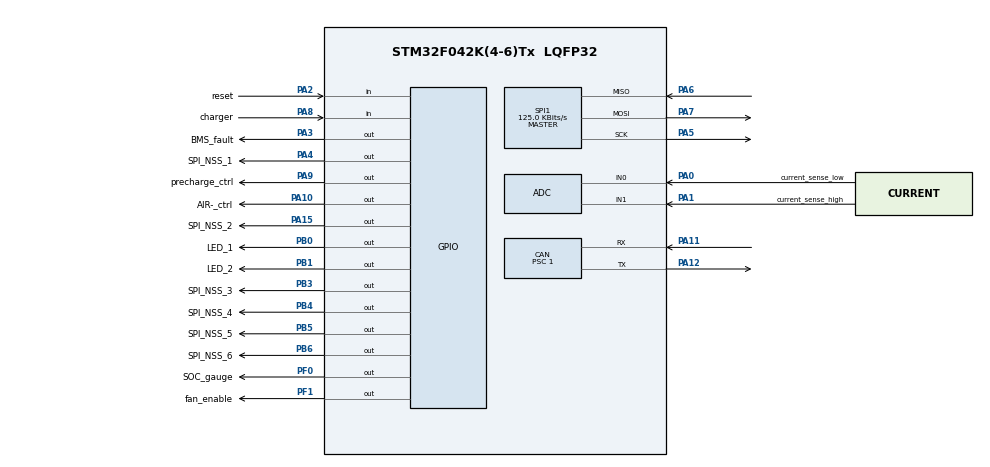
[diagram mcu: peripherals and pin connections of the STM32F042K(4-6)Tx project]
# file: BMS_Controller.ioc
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CAN.AWUM=ENABLE
CAN.BS1=CAN_BS1_14TQ
CAN.CalculateBaudRate=500000
CAN.CalculateTimeBit=2000
CAN.CalculateTimeQuantum=125.0
CAN.NART=DISABLE
CAN.Prescaler=1
CAN.TXFP=ENABLE
Mcu.Family=STM32F0
Mcu.Name=STM32F042K(4-6)Tx
Mcu.Package=LQFP32
NVIC.CEC_CAN_IRQn=true\:0\:0\:false\:false\:true\:true\:true\:true
PA0.GPIO_Label=current_sense_low
PA0.Mode=IN0
PA0.Signal=ADC_IN0
PA1.GPIO_Label=current_sense_high
PA1.Mode=IN1
PA1.Signal=ADC_IN1
PA10.GPIO_Label=AIR-_ctrl
PA10.GPIO_PuPd=GPIO_NOPULL
PA10.PinState=GPIO_PIN_RESET
PA10.Signal=GPIO_Output
PA11.Mode=CAN_Activate
PA11.Signal=CAN_RX
PA12.Mode=CAN_Activate
PA12.Signal=CAN_TX
PA13.Mode=Serial_Wire
PA13.Signal=SYS_SWDIO
PA14.Mode=Serial_Wire
PA14.Signal=SYS_SWCLK
PA15.GPIO_Label=SPI_NSS_2
PA15.PinState=GPIO_PIN_SET
PA15.Signal=GPIO_Output
PA2.GPIO_Label=reset
PA2.Signal=GPIO_Input
PA3.GPIO_Label=BMS_fault
PA3.Signal=GPIO_Output
PA4.GPIO_Label=SPI_NSS_1
PA4.PinState=GPIO_PIN_SET
PA4.Signal=GPIO_Output
PA5.Mode=Full_Duplex_Master
PA5.Signal=SPI1_SCK
PA6.Mode=Full_Duplex_Master
PA6.Signal=SPI1_MISO
PA7.Mode=Full_Duplex_Master
PA7.Signal=SPI1_MOSI
PA8.GPIO_Label=charger
PA8.Signal=GPIO_Input
PA9.GPIO_Label=precharge_ctrl
PA9.Signal=GPIO_Output
PB0.GPIO_Label=LED_1
PB0.PinState=GPIO_PIN_RESET
PB0.Signal=GPIO_Output
PB1.GPIO_Label=LED_2
PB1.Signal=GPIO_Output
PB3.GPIO_Label=SPI_NSS_3
PB3.PinState=GPIO_PIN_SET
PB3.Signal=GPIO_Output
PB4.GPIO_Label=SPI_NSS_4
PB4.PinState=GPIO_PIN_SET
PB4.Signal=GPIO_Output
PB5.GPIO_Label=SPI_NSS_5
PB5.PinState=GPIO_PIN_SET
PB5.Signal=GPIO_Output
PB6.GPIO_Label=SPI_NSS_6
PB6.PinState=GPIO_PIN_SET
PB6.Signal=GPIO_Output
PF0-OSC_IN.GPIO_Label=SOC_gauge
PF0-OSC_IN.Signal=GPIO_Output
PF1-OSC_OUT.GPIO_Label=fan_enable
PF1-OSC_OUT.Signal=GPIO_Output
ProjectManager.HeapSize=0x200
ProjectManager.StackSize=0x400
ProjectManager.TargetToolchain=STM32CubeIDE
SPI1.BaudRatePrescaler=SPI_BAUDRATEPRESCALER_64
SPI1.CalculateBaudRate=125.0 KBits/s
SPI1.DataSize=SPI_DATASIZE_8BIT
SPI1.Direction=SPI_DIRECTION_2LINES
SPI1.Mode=SPI_MODE_MASTER
SPI1.NSSPMode=SPI_NSS_PULSE_DISABLE
SPI1.VirtualType=VM_MASTER
board=custom

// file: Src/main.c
/* USER CODE BEGIN Header */
/**
 ******************************************************************************
 * @file           : main.c
 * @brief          : Main program body
 ******************************************************************************
 * @attention
 *
 * <h2><center>&copy; Copyright (c) 2022 STMicroelectronics.
 * All rights reserved.</center></h2>
 *
 * This software component is licensed by ST under BSD 3-Clause license,
 * the "License"; You may not use this file except in compliance with the
 * License. You may obtain a copy of the License at:
 *                        opensource.org/licenses/BSD-3-Clause
 *
 ******************************************************************************
 */
/* USER CODE END Header */
#include "main.h"

/* USER CODE BEGIN Includes */
#include <stdio.h>
#include <stdlib.h>
#include <math.h>
/* USER CODE END Includes */

/* USER CODE BEGIN PD */
#define SPI_TIMEOUT 200

#define CELLS_PER_SEGMENT 16
#define NUM_OF_SEGMENTS 6
#define NUM_OF_CELLS (CELLS_PER_SEGMENT * NUM_OF_SEGMENTS)
#define MIN_CELL_VOLTAGE 2.5
#define MAX_CELL_VOLTAGE 4.2
#define MIN_SEGMENT_VOLTAGE (MIN_CELL_VOLTAGE * CELLS_PER_SEGMENT)
#define MAX_SEGMENT_VOLTAGE (MAX_CELL_VOLTAGE * CELLS_PER_SEGMENT)

//Above this temperature, the fans kick on
#define FAN_THRESHOLD 100

/* USER CODE END PD */

ADC_HandleTypeDef hadc;

CAN_HandleTypeDef hcan;

SPI_HandleTypeDef hspi1;

void SystemClock_Config(void);
static void MX_GPIO_Init(void);
static void MX_ADC_Init(void);
static void MX_CAN_Init(void);
static void MX_SPI1_Init(void);

int main(void)
{

	/* MCU Configuration--------------------------------------------------------*/

	/* Reset of all peripherals, Initializes the Flash interface and the Systick. */
	HAL_Init();

	/* Configure the system clock */
	SystemClock_Config();

	/* Initialize all configured peripherals */
	MX_GPIO_Init();
	MX_ADC_Init();
	MX_CAN_Init();
	MX_SPI1_Init();
	/* USER CODE BEGIN 2 */

	//turn on green LED. If this turns red, there's been an error
	HAL_GPIO_WritePin(LED_2_GPIO_Port, LED_2_Pin, GPIO_PIN_SET);

	//Set SPI1 bus to not talk to any of the segments
	//Keep in mind that NSS is active low - so RESET turns it on, SET turns it off
	HAL_GPIO_WritePin(SPI_NSS_1_GPIO_Port, SPI_NSS_1_Pin, GPIO_PIN_SET);
	HAL_GPIO_WritePin(SPI_NSS_2_GPIO_Port, SPI_NSS_2_Pin, GPIO_PIN_SET);
	HAL_GPIO_WritePin(SPI_NSS_3_GPIO_Port, SPI_NSS_3_Pin, GPIO_PIN_SET);
	HAL_GPIO_WritePin(SPI_NSS_4_GPIO_Port, SPI_NSS_4_Pin, GPIO_PIN_SET);
	HAL_GPIO_WritePin(SPI_NSS_5_GPIO_Port, SPI_NSS_5_Pin, GPIO_PIN_SET);
	HAL_GPIO_WritePin(SPI_NSS_6_GPIO_Port, SPI_NSS_6_Pin, GPIO_PIN_SET);

	uint16_t buffer_in[16] = {0};

	CAN_TxHeaderTypeDef soc_header;
	CAN_TxHeaderTypeDef seg1_header;
	CAN_TxHeaderTypeDef seg2_header;
	CAN_TxHeaderTypeDef seg3_header;
	CAN_TxHeaderTypeDef seg4_header;
	CAN_TxHeaderTypeDef seg5_header;
	CAN_TxHeaderTypeDef seg6_header;
	CAN_TxHeaderTypeDef bms_fault_header;

	soc_header.IDE = CAN_ID_STD;
	soc_header.StdId = 0x20;
	soc_header.RTR = CAN_RTR_DATA;
	soc_header.DLC = 4;

	seg1_header.IDE = CAN_ID_STD;
	seg1_header.StdId = 0x21;
	seg1_header.RTR = CAN_RTR_DATA;
	seg1_header.DLC = 8;

	seg2_header.IDE = CAN_ID_STD;
	seg2_header.StdId = 0x22;
	seg2_header.RTR = CAN_RTR_DATA;
	seg2_header.DLC = 8;

	seg3_header.IDE = CAN_ID_STD;
	seg3_header.StdId = 0x23;
	seg3_header.RTR = CAN_RTR_DATA;
	seg3_header.DLC = 8;

	seg4_header.IDE = CAN_ID_STD;
	seg4_header.StdId = 0x24;
	seg4_header.RTR = CAN_RTR_DATA;
	seg4_header.DLC = 8;

	seg5_header.IDE = CAN_ID_STD;
	seg5_header.StdId = 0x25;
	seg5_header.RTR = CAN_RTR_DATA;
	seg5_header.DLC = 8;

	seg6_header.IDE = CAN_ID_STD;
	seg6_header.StdId = 0x26;
	seg6_header.RTR = CAN_RTR_DATA;
	seg6_header.DLC = 8;

	bms_fault_header.IDE = CAN_ID_STD;
	bms_fault_header.StdId = 0x27;
	bms_fault_header.RTR = CAN_RTR_DATA;
	bms_fault_header.DLC = 1;

	uint8_t tx_data[8];
	tx_data[0] = 0xC0;
	tx_data[1] = 0xFF;
	tx_data[2] = 0xEE;

	//Configure the CAN filter.
	//This filters out all the can messages we don't want to listen to.
	CAN_FilterTypeDef can_filter_config;
	can_filter_config.FilterActivation = CAN_FILTER_ENABLE;
	can_filter_config.SlaveStartFilterBank = 10;
	can_filter_config.FilterBank = 0;
	can_filter_config.FilterFIFOAssignment = CAN_FILTER_FIFO0;
	can_filter_config.FilterMode = CAN_FILTERMODE_IDMASK;
	can_filter_config.FilterScale = CAN_FILTERSCALE_32BIT;
	can_filter_config.FilterIdHigh = 0x033<<5;
	can_filter_config.FilterIdLow = 0x0;
	can_filter_config.FilterMaskIdHigh = 0x033<<5;
	can_filter_config.FilterMaskIdLow = 0x0000;

	//enable CANbus filter config
	if (HAL_CAN_ConfigFilter(&hcan, &can_filter_config) != HAL_OK) {
		Error_Handler();
	}

	if (HAL_CAN_ActivateNotification(&hcan, CAN_IT_RX_FIFO0_MSG_PENDING) != HAL_OK) {
		Error_Handler();
	}

	//start CANbus port
	if (HAL_CAN_Start(&hcan) != HAL_OK) {
		Error_Handler();
	}

	//tells us which mailbox an outgoing message went to
	uint32_t tx_mailbox;

	if (HAL_CAN_AddTxMessage(&hcan, &bms_fault_header, tx_data, &tx_mailbox) != HAL_OK) {
		Error_Handler();
	}
	while (HAL_CAN_IsTxMessagePending(&hcan, tx_mailbox)) {asm("NOP");}

	/* USER CODE END 2 */

	/* Infinite loop */
	/* USER CODE BEGIN WHILE */
	do {
		/* USER CODE END WHILE */

		/* USER CODE BEGIN 3 */
		//Get data from each of the BMS segments.
		//Right now we're just going to use one segment, but soon we'll use all 6.

		//Get segment 1 to listen to SPI traffic
		HAL_GPIO_WritePin(SPI_NSS_1_GPIO_Port, SPI_NSS_1_Pin, GPIO_PIN_RESET);

		uint8_t transmit[4] = {0xab, 0xcd, 0xef, 0x12};

		uint8_t receive[8] = {0xfa, 0xce, 0xec, 0xaf, 0xca, 0xfe, 0xef, 0xac};

		if (HAL_SPI_Transmit(&hspi1, transmit, 2, SPI_TIMEOUT) != HAL_OK) {
			Error_Handler();
		}
		//HAL_Delay(1000);
		if (HAL_SPI_Receive(&hspi1, receive, 2, SPI_TIMEOUT) != HAL_OK) {
			Error_Handler();
		}
		if (HAL_CAN_AddTxMessage(&hcan, &seg1_header, receive, &tx_mailbox) != HAL_OK) {
			Error_Handler();
		}
		while (HAL_CAN_IsTxMessagePending(&hcan, tx_mailbox)) {asm("NOP");}

		//		if (avg_cell_voltage < MIN_SEGMENT_VOLTAGE) {
		//			//open AIR-
		//			HAL_GPIO_WritePin(AIR__ctrl_GPIO_Port, AIR__ctrl_Pin, GPIO_PIN_RESET);
		//			//Error_Handler();
		//		} else if (avg_cell_voltage > MAX_SEGMENT_VOLTAGE) {
		//			//open AIR-
		//			HAL_GPIO_WritePin(AIR__ctrl_GPIO_Port, AIR__ctrl_Pin, GPIO_PIN_RESET);
		//			//Error_Handler();
		//		}

		//TODO: check temps

		//Accumulator safe, so we turn on AIR- (or leave it on, if it was already set)
		HAL_GPIO_WritePin(AIR__ctrl_GPIO_Port, AIR__ctrl_Pin, GPIO_PIN_SET);
		//turn on Green LED (LED2)
		HAL_GPIO_WritePin(LED_2_GPIO_Port, LED_2_Pin, GPIO_PIN_SET);

		//TODO: check the state of the charging pin
		//TODO: if charging, cutoff and do a balancing session at the end.

	} while (0);
	/* USER CODE END 3 */
}

void SystemClock_Config(void)
{
	RCC_OscInitTypeDef RCC_OscInitStruct = {0};
	RCC_ClkInitTypeDef RCC_ClkInitStruct = {0};

	/** Initializes the RCC Oscillators according to the specified parameters
	 * in the RCC_OscInitTypeDef structure.
	 */
	RCC_OscInitStruct.OscillatorType = RCC_OSCILLATORTYPE_HSI|RCC_OSCILLATORTYPE_HSI14;
	RCC_OscInitStruct.HSIState = RCC_HSI_ON;
	RCC_OscInitStruct.HSI14State = RCC_HSI14_ON;
	RCC_OscInitStruct.HSICalibrationValue = RCC_HSICALIBRATION_DEFAULT;
	RCC_OscInitStruct.HSI14CalibrationValue = 16;
	RCC_OscInitStruct.PLL.PLLState = RCC_PLL_NONE;
	if (HAL_RCC_OscConfig(&RCC_OscInitStruct) != HAL_OK)
	{
		Error_Handler();
	}

	/** Initializes the CPU, AHB and APB buses clocks
	 */
	RCC_ClkInitStruct.ClockType = RCC_CLOCKTYPE_HCLK|RCC_CLOCKTYPE_SYSCLK
			|RCC_CLOCKTYPE_PCLK1;
	RCC_ClkInitStruct.SYSCLKSource = RCC_SYSCLKSOURCE_HSI;
	RCC_ClkInitStruct.AHBCLKDivider = RCC_SYSCLK_DIV1;
	RCC_ClkInitStruct.APB1CLKDivider = RCC_HCLK_DIV1;

	if (HAL_RCC_ClockConfig(&RCC_ClkInitStruct, FLASH_LATENCY_0) != HAL_OK)
	{
		Error_Handler();
	}
}

static void MX_ADC_Init(void)
{

	ADC_ChannelConfTypeDef sConfig = {0};

	/** Configure the global features of the ADC (Clock, Resolution, Data Alignment and number of conversion)
	 */
	hadc.Instance = ADC1;
	hadc.Init.ClockPrescaler = ADC_CLOCK_ASYNC_DIV1;
	hadc.Init.Resolution = ADC_RESOLUTION_12B;
	hadc.Init.DataAlign = ADC_DATAALIGN_RIGHT;
	hadc.Init.ScanConvMode = ADC_SCAN_DIRECTION_FORWARD;
	hadc.Init.EOCSelection = ADC_EOC_SINGLE_CONV;
	hadc.Init.LowPowerAutoWait = DISABLE;
	hadc.Init.LowPowerAutoPowerOff = DISABLE;
	hadc.Init.ContinuousConvMode = DISABLE;
	hadc.Init.DiscontinuousConvMode = DISABLE;
	hadc.Init.ExternalTrigConv = ADC_SOFTWARE_START;
	hadc.Init.ExternalTrigConvEdge = ADC_EXTERNALTRIGCONVEDGE_NONE;
	hadc.Init.DMAContinuousRequests = DISABLE;
	hadc.Init.Overrun = ADC_OVR_DATA_PRESERVED;
	if (HAL_ADC_Init(&hadc) != HAL_OK)
	{
		Error_Handler();
	}

	/** Configure for the selected ADC regular channel to be converted.
	 */
	sConfig.Channel = ADC_CHANNEL_0;
	sConfig.Rank = ADC_RANK_CHANNEL_NUMBER;
	sConfig.SamplingTime = ADC_SAMPLETIME_1CYCLE_5;
	if (HAL_ADC_ConfigChannel(&hadc, &sConfig) != HAL_OK)
	{
		Error_Handler();
	}

	/** Configure for the selected ADC regular channel to be converted.
	 */
	sConfig.Channel = ADC_CHANNEL_1;
	if (HAL_ADC_ConfigChannel(&hadc, &sConfig) != HAL_OK)
	{
		Error_Handler();
	}

}

static void MX_CAN_Init(void)
{

	hcan.Instance = CAN;
	hcan.Init.Prescaler = 1;
	hcan.Init.Mode = CAN_MODE_NORMAL;
	hcan.Init.SyncJumpWidth = CAN_SJW_1TQ;
	hcan.Init.TimeSeg1 = CAN_BS1_14TQ;
	hcan.Init.TimeSeg2 = CAN_BS2_1TQ;
	hcan.Init.TimeTriggeredMode = DISABLE;
	hcan.Init.AutoBusOff = DISABLE;
	hcan.Init.AutoWakeUp = ENABLE;
	hcan.Init.AutoRetransmission = DISABLE;
	hcan.Init.ReceiveFifoLocked = DISABLE;
	hcan.Init.TransmitFifoPriority = ENABLE;
	if (HAL_CAN_Init(&hcan) != HAL_OK)
	{
		Error_Handler();
	}

}

static void MX_SPI1_Init(void)
{

	/* SPI1 parameter configuration*/
	hspi1.Instance = SPI1;
	hspi1.Init.Mode = SPI_MODE_MASTER;
	hspi1.Init.Direction = SPI_DIRECTION_2LINES;
	hspi1.Init.DataSize = SPI_DATASIZE_8BIT;
	hspi1.Init.CLKPolarity = SPI_POLARITY_LOW;
	hspi1.Init.CLKPhase = SPI_PHASE_1EDGE;
	hspi1.Init.NSS = SPI_NSS_SOFT;
	hspi1.Init.BaudRatePrescaler = SPI_BAUDRATEPRESCALER_64;
	hspi1.Init.FirstBit = SPI_FIRSTBIT_MSB;
	hspi1.Init.TIMode = SPI_TIMODE_DISABLE;
	hspi1.Init.CRCCalculation = SPI_CRCCALCULATION_DISABLE;
	hspi1.Init.CRCPolynomial = 7;
	hspi1.Init.CRCLength = SPI_CRC_LENGTH_DATASIZE;
	hspi1.Init.NSSPMode = SPI_NSS_PULSE_DISABLE;
	if (HAL_SPI_Init(&hspi1) != HAL_OK)
	{
		Error_Handler();
	}

}

static void MX_GPIO_Init(void)
{
	GPIO_InitTypeDef GPIO_InitStruct = {0};

	/* GPIO Ports Clock Enable */
	__HAL_RCC_GPIOF_CLK_ENABLE();
	__HAL_RCC_GPIOA_CLK_ENABLE();
	__HAL_RCC_GPIOB_CLK_ENABLE();

	/*Configure GPIO pin Output Level */
	HAL_GPIO_WritePin(GPIOF, SOC_gauge_Pin|fan_enable_Pin, GPIO_PIN_RESET);

	/*Configure GPIO pin Output Level */
	HAL_GPIO_WritePin(GPIOA, BMS_fault_Pin|precharge_ctrl_Pin|AIR__ctrl_Pin, GPIO_PIN_RESET);

	/*Configure GPIO pin Output Level */
	HAL_GPIO_WritePin(GPIOA, SPI_NSS_1_Pin|SPI_NSS_2_Pin, GPIO_PIN_SET);

	/*Configure GPIO pin Output Level */
	HAL_GPIO_WritePin(GPIOB, LED_1_Pin|LED_2_Pin, GPIO_PIN_RESET);

	/*Configure GPIO pin Output Level */
	HAL_GPIO_WritePin(GPIOB, SPI_NSS_3_Pin|SPI_NSS_4_Pin|SPI_NSS_5_Pin|SPI_NSS_6_Pin, GPIO_PIN_SET);

	/*Configure GPIO pins : SOC_gauge_Pin fan_enable_Pin */
	GPIO_InitStruct.Pin = SOC_gauge_Pin|fan_enable_Pin;
	GPIO_InitStruct.Mode = GPIO_MODE_OUTPUT_PP;
	GPIO_InitStruct.Pull = GPIO_NOPULL;
	GPIO_InitStruct.Speed = GPIO_SPEED_FREQ_LOW;
	HAL_GPIO_Init(GPIOF, &GPIO_InitStruct);

	/*Configure GPIO pins : reset_Pin charger_Pin */
	GPIO_InitStruct.Pin = reset_Pin|charger_Pin;
	GPIO_InitStruct.Mode = GPIO_MODE_INPUT;
	GPIO_InitStruct.Pull = GPIO_NOPULL;
	HAL_GPIO_Init(GPIOA, &GPIO_InitStruct);

	/*Configure GPIO pins : BMS_fault_Pin SPI_NSS_1_Pin precharge_ctrl_Pin AIR__ctrl_Pin
                           SPI_NSS_2_Pin */
	GPIO_InitStruct.Pin = BMS_fault_Pin|SPI_NSS_1_Pin|precharge_ctrl_Pin|AIR__ctrl_Pin
			|SPI_NSS_2_Pin;
	GPIO_InitStruct.Mode = GPIO_MODE_OUTPUT_PP;
	GPIO_InitStruct.Pull = GPIO_NOPULL;
	GPIO_InitStruct.Speed = GPIO_SPEED_FREQ_LOW;
	HAL_GPIO_Init(GPIOA, &GPIO_InitStruct);

	/*Configure GPIO pins : LED_1_Pin LED_2_Pin SPI_NSS_3_Pin SPI_NSS_4_Pin
                           SPI_NSS_5_Pin SPI_NSS_6_Pin */
	GPIO_InitStruct.Pin = LED_1_Pin|LED_2_Pin|SPI_NSS_3_Pin|SPI_NSS_4_Pin
			|SPI_NSS_5_Pin|SPI_NSS_6_Pin;
	GPIO_InitStruct.Mode = GPIO_MODE_OUTPUT_PP;
	GPIO_InitStruct.Pull = GPIO_NOPULL;
	GPIO_InitStruct.Speed = GPIO_SPEED_FREQ_LOW;
	HAL_GPIO_Init(GPIOB, &GPIO_InitStruct);

}

/* USER CODE BEGIN 4 */

//checks cell temperatures - if any are too hot, it opens the AIRs
void check_cell_temps() {
	for (int i = 0; i < 6; i++) {
		if (high_cell_temps[i] >= FAN_THRESHOLD) {
			//turn on fan

		}
		if (high_cell_temps[i] > 140) { //greater than 60 deg C, which is 40 deg F
			//open AIRs
		}
	}
}

//CANbus RX callback for getting cell temp info
void HAL_CAN_RxFifo0MsgPendingCallback(CAN_HandleTypeDef *hcan1) {
	CAN_RxHeaderTypeDef rx_header;
	uint8_t rx_data[8];
	if (HAL_CAN_GetRxMessage(hcan1, CAN_RX_FIFO0, &rx_header, rx_data) != HAL_OK) {
		Error_Handler();
	} else {
		if (rx_header.StdId == 0x30) {
			//TODO
		} else if (rx_header.StdId == 0x31) {
			low_cell_temps[0] = rx_data[0];
			avg_cell_temps[0] = rx_data[1];
			high_cell_temps[0] = rx_data[2];
			low_cell_temps[1] = rx_data[3];
			avg_cell_temps[1] = rx_data[4];
			high_cell_temps[1] = rx_data[5];
		} else if (rx_header.StdId == 0x32) {
			low_cell_temps[2] = rx_data[0];
			avg_cell_temps[2] = rx_data[1];
			high_cell_temps[2] = rx_data[2];
			low_cell_temps[3] = rx_data[3];
			avg_cell_temps[3] = rx_data[4];
			high_cell_temps[3] = rx_data[5];
		} else if (rx_header.StdId == 0x33) {
			low_cell_temps[4] = rx_data[0];
			avg_cell_temps[4] = rx_data[1];
			high_cell_temps[4] = rx_data[2];
			low_cell_temps[5] = rx_data[3];
			avg_cell_temps[5] = rx_data[4];
			high_cell_temps[5] = rx_data[5];
		}
		check_cell_temps();
	}
}

/* USER CODE END 4 */

void Error_Handler(void)
{
	/* USER CODE BEGIN Error_Handler_Debug */
	/* User can add his own implementation to report the HAL error return state */
	//turn off green LED
	HAL_GPIO_WritePin(LED_2_GPIO_Port, LED_2_Pin, GPIO_PIN_RESET);
	//turn on red LED (LED1)
	HAL_GPIO_WritePin(LED_1_GPIO_Port, LED_1_Pin, GPIO_PIN_SET);

	/* USER CODE END Error_Handler_Debug */
}
